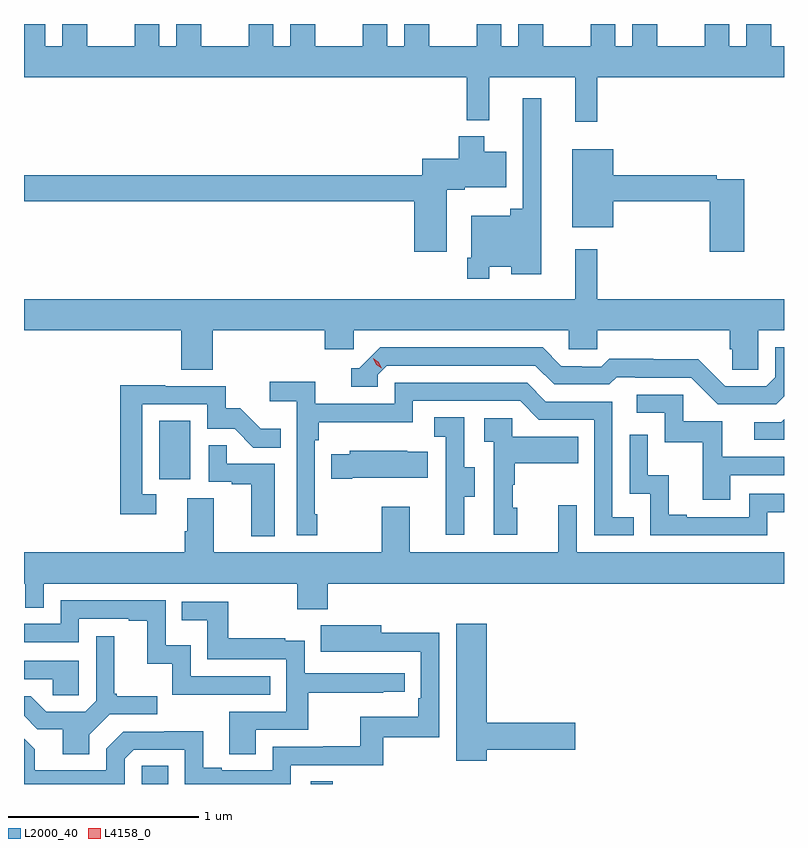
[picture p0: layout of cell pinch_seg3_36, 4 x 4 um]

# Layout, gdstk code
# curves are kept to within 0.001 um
import gdstk
lib = gdstk.Library(unit=1e-6, precision=1e-09)
def R(c, l, rs):  # rectangles x0, y0, x1, y1
    for r in rs: c.add(gdstk.rectangle(r[:2], r[2:], *l))
def P(c, l, *ps):  # polygons
    for p in ps: c.add(gdstk.Polygon(p, *l))
L2000_40 = (2000, 40)
L4158_0 = (4158, 0)

pinch_seg3_36 = lib.new_cell('pinch_seg3_36')
R(pinch_seg3_36, L2000_40, [(1090.302,733.161,1090.441,733.256), (1091.193,733.161,1091.309,733.175), (1090.394,734.766,1090.558,735.073)])
P(pinch_seg3_36, L2000_40, [(1092.065,737.044),(1091.815,737.044),(1091.815,737.161),(1091.684,737.161),(1091.684,737.044),(1091.596,737.044),(1091.596,737.161),(1091.465,737.161),(1091.465,737.044),(1091.215,737.044),(1091.215,737.161),(1091.084,737.161),(1091.084,737.044),(1090.996,737.044),(1090.996,737.161),(1090.865,737.161),(1090.865,737.044),(1090.615,737.044),(1090.615,737.161),(1090.484,737.161),(1090.484,737.044),(1090.396,737.044),(1090.396,737.161),(1090.265,737.161),(1090.265,737.044),(1090.015,737.044),(1090.015,737.161),(1089.884,737.161),(1089.884,737.044),(1089.796,737.044),(1089.796,737.161),(1089.683,737.161),(1089.683,736.88),(1092.013,736.88),(1092.013,736.655),(1092.131,736.655),(1092.131,736.88),(1092.584,736.88),(1092.584,736.647),(1092.701,736.647),(1092.701,736.88),(1093.683,736.88),(1093.683,737.044),(1093.615,737.044),(1093.615,737.161),(1093.484,737.161),(1093.484,737.044),(1093.396,737.044),(1093.396,737.161),(1093.265,737.161),(1093.265,737.044),(1093.015,737.044),(1093.015,737.161),(1092.884,737.161),(1092.884,737.044),(1092.796,737.044),(1092.796,737.161),(1092.665,737.161),(1092.665,737.044),(1092.415,737.044),(1092.415,737.161),(1092.284,737.161),(1092.284,737.044),(1092.196,737.044),(1092.196,737.161),(1092.065,737.161)],
  [(1092.132,735.884),(1092.248,735.884),(1092.248,735.845),(1092.406,735.845),(1092.406,736.771),(1092.309,736.771),(1092.309,736.189),(1092.241,736.189),(1092.241,736.153),(1092.036,736.153),(1092.036,735.931),(1092.016,735.931),(1092.016,735.819),(1092.132,735.819)],
  [(1091.908,736.289),(1092.004,736.289),(1092.004,736.301),(1092.22,736.301),(1092.22,736.489),(1092.106,736.489),(1092.106,736.57),(1091.972,736.57),(1091.972,736.452),(1091.78,736.452),(1091.78,736.364),(1089.683,736.364),(1089.683,736.228),(1091.738,736.228),(1091.738,735.963),(1091.908,735.963)],
  [(1093.475,736.344),(1093.328,736.344),(1093.328,736.364),(1092.784,736.364),(1092.784,736.501),(1092.569,736.501),(1092.569,736.091),(1092.784,736.091),(1092.784,736.228),(1093.292,736.228),(1093.292,735.963),(1093.475,735.963)],
  [(1090.676,735.548),(1091.267,735.548),(1091.267,735.45),(1091.418,735.45),(1091.418,735.548),(1092.549,735.548),(1092.549,735.45),(1092.699,735.45),(1092.699,735.548),(1093.397,735.548),(1093.397,735.45),(1093.411,735.45),(1093.411,735.34),(1093.548,735.34),(1093.548,735.548),(1093.683,735.548),(1093.683,735.712),(1092.701,735.712),(1092.701,735.976),(1092.584,735.976),(1092.584,735.712),(1089.683,735.712),(1089.683,735.548),(1090.511,735.548),(1090.511,735.34),(1090.676,735.34)],
  [(1093.683,735.201),(1093.683,735.459),(1093.638,735.459),(1093.638,735.303),(1093.59,735.255),(1093.374,735.255),(1093.232,735.397),(1092.996,735.397),(1092.996,735.4),(1092.763,735.4),(1092.721,735.357),(1092.618,735.357),(1092.618,735.36),(1092.511,735.36),(1092.412,735.459),(1091.559,735.459),(1091.448,735.348),(1091.405,735.348),(1091.405,735.252),(1091.544,735.252),(1091.544,735.315),(1091.592,735.363),(1092.375,735.363),(1092.474,735.264),(1092.763,735.264),(1092.802,735.303),(1092.901,735.303),(1092.901,735.3),(1093.194,735.3),(1093.335,735.159),(1093.641,735.159)],
  [(1091.227,734.581),(1091.214,734.581),(1091.214,734.969),(1091.234,734.969),(1091.234,735.065),(1091.73,735.065),(1091.73,735.177),(1092.294,735.177),(1092.393,735.078),(1092.684,735.078),(1092.684,734.469),(1092.893,734.469),(1092.893,734.565),(1092.78,734.565),(1092.78,735.174),(1092.43,735.174),(1092.331,735.273),(1091.634,735.273),(1091.634,735.162),(1091.216,735.162),(1091.216,735.278),(1090.977,735.278),(1090.977,735.176),(1091.118,735.176),(1091.118,734.469),(1091.227,734.469)],
  [(1090.378,734.685),(1090.305,734.685),(1090.305,735.159),(1090.647,735.159),(1090.647,735.03),(1090.792,735.03),(1090.89,734.932),(1091.033,734.932),(1091.033,735.031),(1090.929,735.031),(1090.822,735.138),(1090.746,735.138),(1090.746,735.255),(1090.427,735.255),(1090.427,735.26),(1090.189,735.26),(1090.189,734.58),(1090.378,734.58)],
  [(1093.399,734.787),(1093.683,734.787),(1093.683,734.883),(1093.357,734.883),(1093.357,735.069),(1093.152,735.069),(1093.152,735.21),(1092.909,735.21),(1092.909,735.114),(1093.056,735.114),(1093.056,734.961),(1093.255,734.961),(1093.255,734.658),(1093.399,734.658)],
  [(1092.001,734.674),(1092.055,734.674),(1092.055,734.829),(1092,734.829),(1092,735.092),(1091.841,735.092),(1091.841,734.989),(1091.904,734.989),(1091.904,734.685),(1091.903,734.685),(1091.903,734.472),(1092.001,734.472)],
  [(1092.28,734.616),(1092.255,734.616),(1092.255,734.735),(1092.265,734.735),(1092.265,734.849),(1092.599,734.849),(1092.599,734.989),(1092.252,734.989),(1092.252,735.087),(1092.105,735.087),(1092.105,734.963),(1092.156,734.963),(1092.156,734.472),(1092.28,734.472)],
  [(1093.683,735.081),(1093.668,735.066),(1093.527,735.066),(1093.527,734.973),(1093.683,734.973)],
  [(1093.596,734.592),(1093.683,734.592),(1093.683,734.688),(1093.5,734.688),(1093.5,734.565),(1093.171,734.565),(1093.171,734.578),(1093.076,734.578),(1093.076,734.786),(1092.966,734.786),(1092.966,734.998),(1092.87,734.998),(1092.87,734.688),(1092.978,734.688),(1092.978,734.469),(1093.596,734.469)],
  [(1091.002,734.847),(1090.751,734.847),(1090.751,734.945),(1090.656,734.945),(1090.656,734.751),(1090.777,734.751),(1090.777,734.739),(1090.88,734.739),(1090.88,734.465),(1091.002,734.465)],
  [(1091.41,734.774),(1091.807,734.774),(1091.807,734.911),(1091.699,734.911),(1091.699,734.914),(1091.397,734.914),(1091.397,734.896),(1091.299,734.896),(1091.299,734.767),(1091.41,734.767)],
  [(1091.282,734.216),(1093.683,734.216),(1093.683,734.38),(1092.591,734.38),(1092.591,734.629),(1092.494,734.629),(1092.494,734.38),(1091.713,734.38),(1091.713,734.62),(1091.566,734.62),(1091.566,734.38),(1090.681,734.38),(1090.681,734.666),(1090.541,734.666),(1090.541,734.492),(1090.529,734.492),(1090.529,734.38),(1089.683,734.38),(1089.683,734.216),(1089.69,734.216),(1089.69,734.089),(1089.786,734.089),(1089.786,734.216),(1091.122,734.216),(1091.122,734.081),(1091.282,734.081)],
  [(1090.979,733.728),(1090.56,733.728),(1090.56,733.891),(1090.428,733.891),(1090.428,734.127),(1089.876,734.127),(1089.876,734.004),(1089.683,734.004),(1089.683,733.908),(1089.972,733.908),(1089.972,734.031),(1090.235,734.031),(1090.235,734.019),(1090.331,734.019),(1090.331,733.793),(1090.464,733.793),(1090.464,733.632),(1090.979,733.632)],
  [(1090.903,733.446),(1091.18,733.446),(1091.18,733.642),(1091.573,733.642),(1091.573,733.647),(1091.686,733.647),(1091.686,733.743),(1091.16,733.743),(1091.16,733.915),(1091.057,733.915),(1091.057,733.927),(1090.759,733.927),(1090.759,734.121),(1090.513,734.121),(1090.513,734.024),(1090.648,734.024),(1090.648,733.818),(1091.064,733.818),(1091.064,733.542),(1090.763,733.542),(1090.763,733.318),(1090.903,733.318)],
  [(1092.118,733.342),(1092.583,733.342),(1092.583,733.484),(1092.118,733.484),(1092.118,734.005),(1091.957,734.005),(1091.957,733.284),(1092.118,733.284)],
  [(1090.212,733.293),(1090.26,733.341),(1090.53,733.341),(1090.53,733.161),(1091.088,733.161),(1091.088,733.26),(1091.575,733.26),(1091.575,733.407),(1091.868,733.407),(1091.868,733.958),(1091.563,733.958),(1091.563,733.996),(1091.245,733.996),(1091.245,733.856),(1091.772,733.857),(1091.772,733.612),(1091.759,733.612),(1091.759,733.516),(1091.454,733.516),(1091.454,733.361),(1091.257,733.361),(1091.257,733.356),(1090.992,733.356),(1090.992,733.233),(1090.723,733.233),(1090.723,733.246),(1090.627,733.246),(1090.627,733.439),(1090.422,733.439),(1090.422,733.437),(1090.206,733.437),(1090.116,733.347),(1090.116,733.233),(1089.739,733.233),(1089.739,733.343),(1089.683,733.399),(1089.683,733.161),(1090.212,733.161)],
  [(1090.027,733.42),(1090.134,733.527),(1090.384,733.527),(1090.384,733.624),(1090.171,733.624),(1090.171,733.636),(1090.159,733.636),(1090.159,733.939),(1090.062,733.939),(1090.062,733.599),(1090.005,733.542),(1089.799,733.542),(1089.718,733.623),(1089.683,733.623),(1089.683,733.519),(1089.752,733.45),(1089.887,733.45),(1089.887,733.318),(1090.027,733.318)],
  [(1089.972,733.809),(1089.683,733.809),(1089.683,733.713),(1089.835,733.713),(1089.835,733.629),(1089.972,733.629)])
P(pinch_seg3_36, L4158_0, [(1091.567,735.348),(1091.536,735.368),(1091.52,735.401),(1091.52,735.401),(1091.521,735.401),(1091.551,735.381),(1091.567,735.348),(1091.567,735.348)])

lib.write_gds('pinch_seg3_36.gds')
